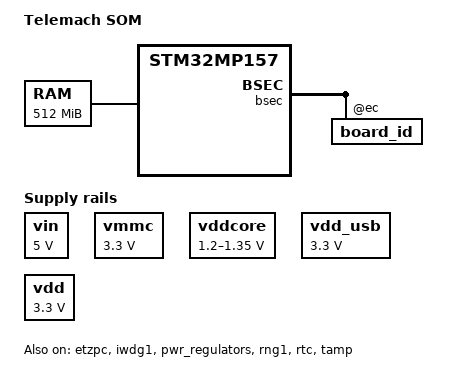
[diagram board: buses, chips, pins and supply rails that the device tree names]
// SPDX-License-Identifier: (GPL-2.0-or-later OR BSD-3-Clause)
/*
 * Copyright (C) 2025, STMicroelectronics - All Rights Reserved
 * Author: STM32CubeMX code generation for STMicroelectronics.
 */

/* For more information on Device Tree configuration, please refer to
 * https://wiki.st.com/stm32mpu/wiki/Category:Device_tree_configuration
 */

/dts-v1/;

#include <dt-bindings/pinctrl/stm32-pinfunc.h>
#include <dt-bindings/clock/stm32mp1-clksrc.h>
#include <dt-bindings/soc/stm32mp15-etzpc.h>
#include "stm32mp157.dtsi"
#include "stm32mp15xc.dtsi"
#include "stm32mp15xxaa-pinctrl.dtsi"

/* USER CODE BEGIN includes */
#include <dt-bindings/soc/stm32mp15-tzc400.h>
#include <dt-bindings/gpio/stm32mp_gpio.h>
#include <dt-bindings/gpio/gpio.h>
#include <dt-bindings/power/stm32mp1-power.h>
#include <dt-bindings/mfd/st,stpmic1.h>
#include <dt-bindings/tamper/st,stm32-tamp.h>
#include "stm32mp15xa.dtsi"
#include "stm32mp15-pinctrl.dtsi"
/* USER CODE END includes */

/ {
	model = "Telemach SOM";
	compatible = "st,stm32mp157c-telemach-mx", "st,stm32mp157";

	memory@c0000000 {
		device_type = "memory";
		reg = <0xc0000000 0x20000000>;

		/* USER CODE BEGIN memory */
		/* USER CODE END memory */
	};

	reserved-memory {
		#address-cells = <1>;
		#size-cells = <1>;
		ranges;

		/* USER CODE BEGIN reserved-memory */
		gpu_reserved: gpu@d4000000 {
			reg = <0xd4000000 0x4000000>;
			no-map;
		};
		/* USER CODE END reserved-memory */
	};

	/* USER CODE BEGIN root */

	aliases {
		mmc0 = &sdmmc1;
	};

	vin: vin {
		compatible = "regulator-fixed";
		regulator-name = "vin";
		regulator-min-microvolt = <5000000>;
		regulator-max-microvolt = <5000000>;
		regulator-always-on;
	};

	vmmc: fixedregulator@1 {
		compatible = "regulator-fixed";
		regulator-name = "vmmc";
		regulator-min-microvolt = <3300000>;
		regulator-max-microvolt = <3300000>;
		startup-delay-us = <70000>;
		enable-active-high;
	};

	vddcore: vddcore {
		compatible = "regulator-fixed";
		regulator-name = "vddcore";
		regulator-min-microvolt = <1200000>;
		regulator-max-microvolt = <1350000>;
		regulator-always-on;
	};

	vdd_usb: vdd_usb {
		compatible = "regulator-fixed";
		regulator-name = "vdd_usb";
		regulator-min-microvolt = <3300000>;
		regulator-max-microvolt = <3300000>;
		regulator-always-on;
	};

	vdd: vdd {
		compatible = "regulator-fixed";
		regulator-name = "vdd";
		regulator-min-microvolt = <3300000>;
		regulator-max-microvolt = <3300000>;
		regulator-always-on;
	};

	/* USER CODE END root */

	clocks {
		/* USER CODE BEGIN clocks */
		/* USER CODE END clocks */

		clk_hsi: clk-hsi {
			clock-frequency = <64000000>;

			/* USER CODE BEGIN clk_hsi */
			/* USER CODE END clk_hsi */
		};
		clk_lse: clk-lse {
			clock-frequency = <32768>;
			st,drive = < LSEDRV_MEDIUM_HIGH >;

			/* USER CODE BEGIN clk_lse */
			/* USER CODE END clk_lse */
		};
		clk_hse: clk-hse {
			clock-frequency = <24000000>;
			st,digbypass;

			/* USER CODE BEGIN clk_hse */
			/* USER CODE END clk_hse */
		};
	};

}; /*root*/

/*Warning: the configuration of the secured GPIOs should be added in (addons) User Section*/
&pinctrl {
	/* USER CODE BEGIN pinctrl */
	/* USER CODE END pinctrl */
};

&pinctrl_z {
	/* USER CODE BEGIN pinctrl_z */
	/* USER CODE END pinctrl_z */
};

&bsec {
	status = "okay";

	/* USER CODE BEGIN bsec */
	board_id: board_id@ec {
		reg = <0xec 0x4>;
		st,non-secure-otp;
	};
	/* USER CODE END bsec */
};

&etzpc {
	status = "okay";
	st,decprot = <
	/*"Non Secured" peripherals*/
	DECPROT(STM32MP1_ETZPC_ADC_ID, DECPROT_NS_RW, DECPROT_UNLOCK)
	DECPROT(STM32MP1_ETZPC_DAC_ID, DECPROT_NS_RW, DECPROT_UNLOCK)
	DECPROT(STM32MP1_ETZPC_DMA1_ID, DECPROT_NS_RW, DECPROT_UNLOCK)
	DECPROT(STM32MP1_ETZPC_DMAMUX_ID, DECPROT_NS_RW, DECPROT_UNLOCK)
	DECPROT(STM32MP1_ETZPC_ETH_ID, DECPROT_NS_RW, DECPROT_UNLOCK)
	DECPROT(STM32MP1_ETZPC_HASH1_ID, DECPROT_NS_RW, DECPROT_UNLOCK)
	DECPROT(STM32MP1_ETZPC_I2C2_ID, DECPROT_NS_RW, DECPROT_UNLOCK)
	DECPROT(STM32MP1_ETZPC_I2C4_ID, DECPROT_NS_RW, DECPROT_UNLOCK)
	DECPROT(STM32MP1_ETZPC_TIM2_ID, DECPROT_NS_RW, DECPROT_UNLOCK)
	DECPROT(STM32MP1_ETZPC_TIM4_ID, DECPROT_NS_RW, DECPROT_UNLOCK)
	DECPROT(STM32MP1_ETZPC_UART4_ID, DECPROT_NS_RW, DECPROT_UNLOCK)
	DECPROT(STM32MP1_ETZPC_OTG_ID, DECPROT_NS_RW, DECPROT_UNLOCK)
	/*"NS_R S_W" peripherals*/
	DECPROT(STM32MP1_ETZPC_DDRCTRL_ID, DECPROT_NS_R_S_W, DECPROT_LOCK)
	DECPROT(STM32MP1_ETZPC_DDRPHYC_ID, DECPROT_NS_R_S_W, DECPROT_LOCK)
	/*"Secured" peripherals*/
	DECPROT(STM32MP1_ETZPC_IWDG1_ID, DECPROT_S_RW, DECPROT_UNLOCK)
	DECPROT(STM32MP1_ETZPC_STGENC_ID, DECPROT_S_RW, DECPROT_UNLOCK)
	DECPROT(STM32MP1_ETZPC_RNG1_ID, DECPROT_S_RW, DECPROT_UNLOCK)
	/*"Mcu Isolation" peripherals*/
	DECPROT(STM32MP1_ETZPC_DMA2_ID, DECPROT_MCU_ISOLATION, DECPROT_UNLOCK)

	/*Restriction: following IDs are not managed  - please to use User-Section if needed:
		  STM32MP1_ETZPC_SRAMx_ID  STM32MP1_ETZPC_RETRAM_ID  STM32MP1_ETZPC_BKPSRAM_ID*/

	/* USER CODE BEGIN etzpc_decprot */
		/*STM32CubeMX generates a basic and standard configuration for ETZPC.
		Additional device configurations can be added here if needed.
		"etzpc" node could be also overloaded in "addons" User-Section.*/
	/* USER CODE END etzpc_decprot */
	>;

	/* USER CODE BEGIN etzpc */
	/* USER CODE END etzpc */
};

&iwdg1 {
	status = "okay";

	/* USER CODE BEGIN iwdg1 */
	timeout-sec = <32>;
	status = "okay";
	/* USER CODE END iwdg1 */
};

&pwr_regulators {
	status = "okay";

	/* USER CODE BEGIN pwr_regulators */
	system_suspend_supported_soc_modes = <
		STM32_PM_CSLEEP_RUN
		STM32_PM_CSTOP_ALLOW_LP_STOP
		STM32_PM_CSTOP_ALLOW_STANDBY_DDR_SR
	>;
	system_off_soc_mode = <STM32_PM_CSTOP_ALLOW_STANDBY_DDR_OFF>;
	vdd-supply = <&vdd>;
	vdd_3v3_usbfs-supply = <&vdd_usb>;
	/* USER CODE END pwr_regulators */
};

&rcc {
	status = "okay";

	/* USER CODE BEGIN rcc */
	compatible = "st,stm32mp1-rcc-secure";
	/* USER CODE END rcc */

	st,clksrc = <
		CLK_CKPER_HSE
		CLK_ETH_PLL3Q
		CLK_SDMMC12_PLL4P
		CLK_STGEN_HSI
		CLK_USBPHY_HSE
		CLK_I2C46_PCLK5
		CLK_USBO_USBPHY
		CLK_ADC_CKPER
		CLK_I2C12_PCLK1
		CLK_UART24_PCLK1
		CLK_RNG1_CSI
		CLK_MPU_PLL1P
		CLK_AXI_PLL2P
		CLK_MCU_PLL3P
		CLK_RTC_LSE
		CLK_DSI_DSIPLL
		CLK_MCO1_DISABLED
		CLK_MCO2_DISABLED
	>;

	st,clkdiv = <
		DIV(DIV_MPU, 1)
		DIV(DIV_AXI, 0)
		DIV(DIV_MCU, 0)
		DIV(DIV_APB1, 1)
		DIV(DIV_APB2, 1)
		DIV(DIV_APB3, 1)
		DIV(DIV_APB4, 1)
		DIV(DIV_APB5, 2)
		DIV(DIV_MCO1, 0)
		DIV(DIV_MCO2, 0)
	>;
        st,pll_vco {
                pll2_vco_1066Mhz: pll2-vco-1066Mhz {
                        src = < CLK_PLL12_HSE >;
                        divmn = < 2 65 >;
                        frac = < 0x1400 >;
                };
                pll3_vco_400Mhz: pll3-vco-400Mhz {
                        src = < CLK_PLL3_HSE >;
                        divmn = < 2 49 >;
                };
                pll4_vco_594Mhz: pll4-vco-594Mhz {
                        src = < CLK_PLL4_HSE >;
                        divmn = < 3 98 >;
                };
        };

        pll2:st,pll@1 {
                compatible = "st,stm32mp1-pll";
                reg = <1>;

                st,pll = < &pll2_cfg1 >;

                pll2_cfg1: pll2_cfg1 {
                        st,pll_vco = < &pll2_vco_1066Mhz >;
                        st,pll_div_pqr = < 1 0 0 >;
                };
        };

        pll3:st,pll@2 {
                compatible = "st,stm32mp1-pll";
                reg = <2>;

                st,pll = < &pll3_cfg1 >;

                pll3_cfg1: pll3_cfg1 {
                        st,pll_vco = < &pll3_vco_400Mhz >;
                        st,pll_div_pqr = < 1 7 31 >;
                };
        };

        pll4:st,pll@3 {
                compatible = "st,stm32mp1-pll";
                reg = <3>;

                st,pll = < &pll4_cfg1 >;

                pll4_cfg1: pll4_cfg1 {
                        st,pll_vco = < &pll4_vco_594Mhz >;
                        st,pll_div_pqr = < 5 7 5 >;
                };
        };
};

&rng1 {
	status = "okay";

	/* USER CODE BEGIN rng1 */
	/* USER CODE END rng1 */
};

&rtc {
	status = "okay";

	/* USER CODE BEGIN rtc */
	/* USER CODE END rtc */
};

&tamp {
	status = "okay";

	/* USER CODE BEGIN tamp */
	/* USER CODE END tamp */
};

/* USER CODE BEGIN addons */
&gpu {
	contiguous-area = <&gpu_reserved>;
};

&cpu0 {
	cpu-supply = <&vddcore>;
	cpu-frequency = <650000000>;
};

&cpu1 {
	cpu-supply = <&vddcore>;
	cpu-frequency = <650000000>;
};

/* USER CODE END addons */
